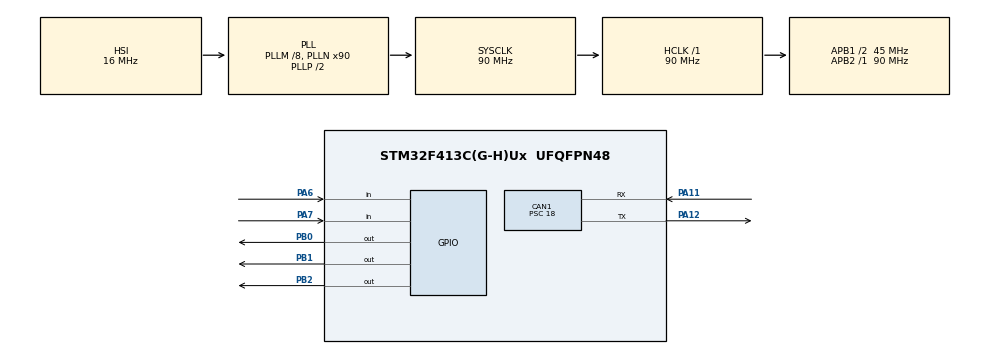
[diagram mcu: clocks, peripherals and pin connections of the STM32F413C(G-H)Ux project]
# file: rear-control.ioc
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CAN1.ABOM=ENABLE
CAN1.AWUM=DISABLE
CAN1.BS1=CAN_BS1_3TQ
CAN1.CalculateBaudRate=500000
CAN1.CalculateTimeBit=2000
CAN1.CalculateTimeQuantum=400.0
CAN1.NART=DISABLE
CAN1.Prescaler=18
Mcu.Family=STM32F4
Mcu.Name=STM32F413C(G-H)Ux
Mcu.Package=UFQFPN48
NVIC.CAN1_RX0_IRQn=true\:0\:0\:false\:false\:true\:true\:true
NVIC.CAN1_TX_IRQn=true\:0\:0\:false\:false\:true\:true\:true
NVIC.PriorityGroup=NVIC_PRIORITYGROUP_4
NVIC.TIM8_TRG_COM_TIM14_IRQn=true\:0\:0\:false\:false\:true\:true\:true
NVIC.TIM8_UP_TIM13_IRQn=true\:0\:0\:false\:false\:true\:true\:true
PA11.Mode=CAN_Activate
PA11.Signal=CAN1_RX
PA12.Mode=CAN_Activate
PA12.Signal=CAN1_TX
PA13.Mode=Serial_Wire
PA13.Signal=SYS_JTMS-SWDIO
PA14.Mode=Serial_Wire
PA14.Signal=SYS_JTCK-SWCLK
PA6.Signal=GPIO_Input
PA7.Signal=GPIO_Input
PB0.Signal=GPIO_Output
PB1.Signal=GPIO_Output
PB2.Signal=GPIO_Output
PH0\ -\ OSC_IN.Mode=HSE-External-Oscillator
PH0\ -\ OSC_IN.Signal=RCC_OSC_IN
PH1\ -\ OSC_OUT.Mode=HSE-External-Oscillator
PH1\ -\ OSC_OUT.Signal=RCC_OSC_OUT
ProjectManager.HeapSize=0x200
ProjectManager.StackSize=0x400
ProjectManager.TargetToolchain=Makefile
RCC.AHBFreq_Value=90000000
RCC.APB1CLKDivider=RCC_HCLK_DIV2
RCC.APB1Freq_Value=45000000
RCC.APB1TimFreq_Value=90000000
RCC.APB2Freq_Value=90000000
RCC.APB2TimFreq_Value=90000000
RCC.CortexFreq_Value=90000000
RCC.HCLKFreq_Value=90000000
RCC.PLLM=8
RCC.PLLN=90
RCC.SYSCLKFreq_VALUE=90000000
RCC.SYSCLKSource=RCC_SYSCLKSOURCE_PLLCLK
RCC.USBFreq_Value=90000000
RCC.VCOOutputFreq_Value=180000000
TIM13.Period=100-1
TIM13.Prescaler=9000-1
TIM14.Period=100-1
TIM14.Prescaler=9000-1
VP_TIM13_VS_ClockSourceINT.Mode=Enable_Timer
VP_TIM14_VS_ClockSourceINT.Mode=Enable_Timer
board=custom

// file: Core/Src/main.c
/* USER CODE BEGIN Header */
/**
  ******************************************************************************
  * @file           : main.c
  * @brief          : Main program body
  ******************************************************************************
  * @attention
  *
  * Copyright (c) 2022 STMicroelectronics.
  * All rights reserved.
  *
  * This software is licensed under terms that can be found in the LICENSE file
  * in the root directory of this software component.
  * If no LICENSE file comes with this software, it is provided AS-IS.
  *
  ******************************************************************************
  */
/* USER CODE END Header */
#include "main.h"

CAN_HandleTypeDef hcan1;

TIM_HandleTypeDef htim13;
TIM_HandleTypeDef htim14;

/* USER CODE BEGIN PV */

// CAN transmit
CAN_TxHeaderTypeDef TxHeader;
uint8_t TxData[8];
uint32_t TxMailbox;

// CAN recive
CAN_RxHeaderTypeDef RxHeader;
CAN_FilterTypeDef filter0;
uint8_t RxData[8];

// signal pins (0 = off | 1 = on)
uint8_t brakeLight = 0;
uint8_t fanSig = 0;
uint8_t imdFault = 1;
uint8_t bmsFault = 1;

/* USER CODE END PV */

void SystemClock_Config(void);
static void MX_GPIO_Init(void);
static void MX_CAN1_Init(void);
static void MX_TIM14_Init(void);
static void MX_TIM13_Init(void);

int main(void)
{
  /* USER CODE BEGIN 1 */
  // setup transmit header
  TxHeader.StdId = 0x082;
  TxHeader.ExtId = 0x0;
  TxHeader.IDE = CAN_ID_STD;
  TxHeader.RTR = CAN_RTR_DATA;
  TxHeader.DLC = 8;
  TxHeader.TransmitGlobalTime = DISABLE;

  /* USER CODE END 1 */

  /* MCU Configuration--------------------------------------------------------*/

  /* Reset of all peripherals, Initializes the Flash interface and the Systick. */
  HAL_Init();

  /* Configure the system clock */
  SystemClock_Config();

  /* Initialize all configured peripherals */
  MX_GPIO_Init();
  MX_CAN1_Init();
  MX_TIM14_Init();
  MX_TIM13_Init();
  /* USER CODE BEGIN 2 */

  // start interrupts
  HAL_CAN_Start(&hcan1);
  HAL_CAN_ActivateNotification(&hcan1, CAN_IT_RX_FIFO0_MSG_PENDING);
  HAL_TIM_Base_Start_IT(&htim14);
  // HAL_TIM_Base_Start_IT(&htim13);

  /* USER CODE END 2 */

  /* Infinite loop */
  while (1)
  {

  }
}

void SystemClock_Config(void)
{
  RCC_OscInitTypeDef RCC_OscInitStruct = {0};
  RCC_ClkInitTypeDef RCC_ClkInitStruct = {0};

  /** Configure the main internal regulator output voltage
  */
  __HAL_RCC_PWR_CLK_ENABLE();
  __HAL_PWR_VOLTAGESCALING_CONFIG(PWR_REGULATOR_VOLTAGE_SCALE1);
  /** Initializes the RCC Oscillators according to the specified parameters
  * in the RCC_OscInitTypeDef structure.
  */
  RCC_OscInitStruct.OscillatorType = RCC_OSCILLATORTYPE_HSI;
  RCC_OscInitStruct.HSIState = RCC_HSI_ON;
  RCC_OscInitStruct.HSICalibrationValue = RCC_HSICALIBRATION_DEFAULT;
  RCC_OscInitStruct.PLL.PLLState = RCC_PLL_ON;
  RCC_OscInitStruct.PLL.PLLSource = RCC_PLLSOURCE_HSI;
  RCC_OscInitStruct.PLL.PLLM = 8;
  RCC_OscInitStruct.PLL.PLLN = 90;
  RCC_OscInitStruct.PLL.PLLP = RCC_PLLP_DIV2;
  RCC_OscInitStruct.PLL.PLLQ = 2;
  RCC_OscInitStruct.PLL.PLLR = 2;
  if (HAL_RCC_OscConfig(&RCC_OscInitStruct) != HAL_OK)
  {
    Error_Handler();
  }
  /** Initializes the CPU, AHB and APB buses clocks
  */
  RCC_ClkInitStruct.ClockType = RCC_CLOCKTYPE_HCLK|RCC_CLOCKTYPE_SYSCLK
                              |RCC_CLOCKTYPE_PCLK1|RCC_CLOCKTYPE_PCLK2;
  RCC_ClkInitStruct.SYSCLKSource = RCC_SYSCLKSOURCE_PLLCLK;
  RCC_ClkInitStruct.AHBCLKDivider = RCC_SYSCLK_DIV1;
  RCC_ClkInitStruct.APB1CLKDivider = RCC_HCLK_DIV2;
  RCC_ClkInitStruct.APB2CLKDivider = RCC_HCLK_DIV1;

  if (HAL_RCC_ClockConfig(&RCC_ClkInitStruct, FLASH_LATENCY_3) != HAL_OK)
  {
    Error_Handler();
  }
}

static void MX_CAN1_Init(void)
{

  hcan1.Instance = CAN1;
  hcan1.Init.Prescaler = 18;
  hcan1.Init.Mode = CAN_MODE_NORMAL;
  hcan1.Init.SyncJumpWidth = CAN_SJW_1TQ;
  hcan1.Init.TimeSeg1 = CAN_BS1_3TQ;
  hcan1.Init.TimeSeg2 = CAN_BS2_1TQ;
  hcan1.Init.TimeTriggeredMode = DISABLE;
  hcan1.Init.AutoBusOff = ENABLE;
  hcan1.Init.AutoWakeUp = DISABLE;
  hcan1.Init.AutoRetransmission = DISABLE;
  hcan1.Init.ReceiveFifoLocked = DISABLE;
  hcan1.Init.TransmitFifoPriority = DISABLE;
  if (HAL_CAN_Init(&hcan1) != HAL_OK)
  {
    Error_Handler();
  }
  /* USER CODE BEGIN CAN1_Init 2 */

  filter0.FilterIdHigh = 0x093 << 5;
  filter0.FilterIdLow = 0x000;
  filter0.FilterMaskIdHigh = 0x093 << 5;
  filter0.FilterMaskIdLow = 0x000;
  filter0.FilterFIFOAssignment =  CAN_RX_FIFO0;
  filter0.FilterBank = 1;
  filter0.FilterMode = CAN_FILTERMODE_IDMASK;
  filter0.FilterScale = CAN_FILTERSCALE_32BIT;
  filter0.FilterActivation = ENABLE;
  filter0.SlaveStartFilterBank = 0;

  HAL_CAN_ConfigFilter(&hcan1, &filter0);

  /* USER CODE END CAN1_Init 2 */

}

static void MX_TIM13_Init(void)
{

  htim13.Instance = TIM13;
  htim13.Init.Prescaler = 9000-1;
  htim13.Init.CounterMode = TIM_COUNTERMODE_UP;
  htim13.Init.Period = 100-1;
  htim13.Init.ClockDivision = TIM_CLOCKDIVISION_DIV1;
  htim13.Init.AutoReloadPreload = TIM_AUTORELOAD_PRELOAD_DISABLE;
  if (HAL_TIM_Base_Init(&htim13) != HAL_OK)
  {
    Error_Handler();
  }

}

static void MX_TIM14_Init(void)
{

  htim14.Instance = TIM14;
  htim14.Init.Prescaler = 9000-1;
  htim14.Init.CounterMode = TIM_COUNTERMODE_UP;
  htim14.Init.Period = 100-1;
  htim14.Init.ClockDivision = TIM_CLOCKDIVISION_DIV1;
  htim14.Init.AutoReloadPreload = TIM_AUTORELOAD_PRELOAD_DISABLE;
  if (HAL_TIM_Base_Init(&htim14) != HAL_OK)
  {
    Error_Handler();
  }

}

static void MX_GPIO_Init(void)
{
  GPIO_InitTypeDef GPIO_InitStruct = {0};

  /* GPIO Ports Clock Enable */
  __HAL_RCC_GPIOH_CLK_ENABLE();
  __HAL_RCC_GPIOA_CLK_ENABLE();
  __HAL_RCC_GPIOB_CLK_ENABLE();

  /*Configure GPIO pin Output Level */
  HAL_GPIO_WritePin(GPIOB, GPIO_PIN_0|GPIO_PIN_1|GPIO_PIN_2, GPIO_PIN_RESET);

  /*Configure GPIO pins : PA6 PA7 */
  GPIO_InitStruct.Pin = GPIO_PIN_6|GPIO_PIN_7;
  GPIO_InitStruct.Mode = GPIO_MODE_INPUT;
  GPIO_InitStruct.Pull = GPIO_NOPULL;
  HAL_GPIO_Init(GPIOA, &GPIO_InitStruct);

  /*Configure GPIO pins : PB0 PB1 PB2 */
  GPIO_InitStruct.Pin = GPIO_PIN_0|GPIO_PIN_1|GPIO_PIN_2;
  GPIO_InitStruct.Mode = GPIO_MODE_OUTPUT_PP;
  GPIO_InitStruct.Pull = GPIO_NOPULL;
  GPIO_InitStruct.Speed = GPIO_SPEED_FREQ_LOW;
  HAL_GPIO_Init(GPIOB, &GPIO_InitStruct);

}

/* USER CODE BEGIN 4 */

void HAL_CAN_RxFifo0MsgPendingCallback(CAN_HandleTypeDef *hcan)
{
  if (HAL_CAN_GetRxMessage(&hcan1, CAN_RX_FIFO0, &RxHeader, RxData) != HAL_OK){
    Error_Handler();
  }

  // read CAN message from
  if (RxHeader.StdId == 0x093)
  {
      brakeLight = RxData[2];
      // fanSig = RxData[4];
  }
}

void HAL_TIM_PeriodElapsedCallback(TIM_HandleTypeDef *htim)
{
  // on __Hz interval
  if (htim == &htim13)
  {
    // imdFault = HAL_GPIO_ReadPin(GPIOA, GPIO_PIN_6);
    // bmsFault = HAL_GPIO_ReadPin(GPIOA, GPIO_PIN_7);
  }

  // on __Hz interval
  if (htim == &htim14)
  {

    imdFault = HAL_GPIO_ReadPin(GPIOA, GPIO_PIN_6);
    bmsFault = HAL_GPIO_ReadPin(GPIOA, GPIO_PIN_7);

    // build CAN message for
    TxData[0] = !imdFault;            // inverted because the fault clears high, LEDs then read low on DCB
    TxData[1] = !bmsFault;            // inverted because the fault clears high, LEDs then read low on DCB
    TxData[2] = 0x02;
    TxData[3] = 0x03;
    TxData[4] = 0x04;
    TxData[5] = 0x05;
    TxData[6] = 0x06;
    TxData[7] = 0x07;

    // send message
    HAL_CAN_AddTxMessage(&hcan1, &TxHeader, TxData, &TxMailbox);

    // update fan and brake
    // HAL_GPIO_WritePin(GPIOB, GPIO_PIN_1, fanSig);
    HAL_GPIO_WritePin(GPIOB, GPIO_PIN_2, brakeLight);
  }
}

/* USER CODE END 4 */

void Error_Handler(void)
{
  __disable_irq();
  while (1)
  {
  }
}
